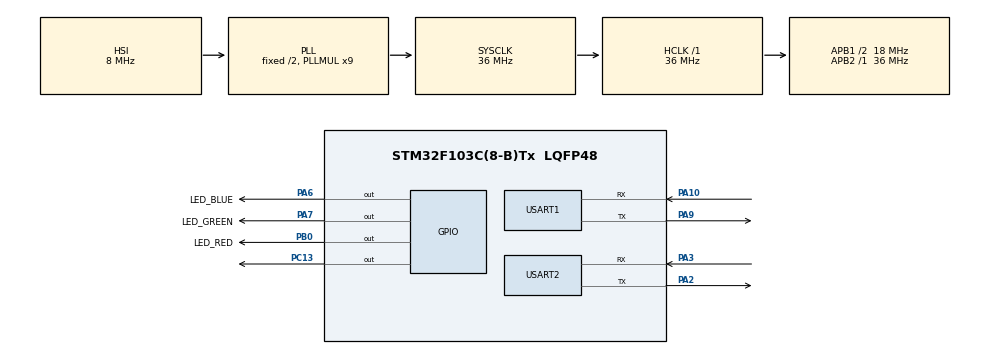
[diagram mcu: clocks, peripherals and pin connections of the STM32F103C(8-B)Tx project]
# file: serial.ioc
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Mcu.Family=STM32F1
Mcu.Name=STM32F103C(8-B)Tx
Mcu.Package=LQFP48
NVIC.PriorityGroup=NVIC_PRIORITYGROUP_4
PA10.GPIO_PuPd=GPIO_PULLUP
PA10.Mode=Asynchronous
PA10.Signal=USART1_RX
PA13.Mode=Serial_Wire
PA13.Signal=SYS_JTMS-SWDIO
PA14.Mode=Serial_Wire
PA14.Signal=SYS_JTCK-SWCLK
PA2.Mode=Asynchronous
PA2.Signal=USART2_TX
PA3.Mode=Asynchronous
PA3.Signal=USART2_RX
PA6.GPIO_Label=LED_BLUE
PA6.Signal=GPIO_Output
PA7.GPIO_Label=LED_GREEN
PA7.Signal=GPIO_Output
PA9.Mode=Asynchronous
PA9.Signal=USART1_TX
PB0.GPIO_Label=LED_RED
PB0.Signal=GPIO_Output
PC13-TAMPER-RTC.Signal=GPIO_Output
PC14-OSC32_IN.Mode=LSE-External-Oscillator
PC14-OSC32_IN.Signal=RCC_OSC32_IN
PC15-OSC32_OUT.Mode=LSE-External-Oscillator
PC15-OSC32_OUT.Signal=RCC_OSC32_OUT
PD0-OSC_IN.Mode=HSE-External-Oscillator
PD0-OSC_IN.Signal=RCC_OSC_IN
PD1-OSC_OUT.Mode=HSE-External-Oscillator
PD1-OSC_OUT.Signal=RCC_OSC_OUT
ProjectManager.HeapSize=0x200
ProjectManager.StackSize=0x400
ProjectManager.TargetToolchain=MDK-ARM V5.32
RCC.AHBFreq_Value=36000000
RCC.APB1CLKDivider=RCC_HCLK_DIV2
RCC.APB1Freq_Value=18000000
RCC.APB1TimFreq_Value=36000000
RCC.APB2Freq_Value=36000000
RCC.APB2TimFreq_Value=36000000
RCC.HCLKFreq_Value=36000000
RCC.PLLMUL=RCC_PLL_MUL9
RCC.SYSCLKFreq_VALUE=36000000
RCC.SYSCLKSource=RCC_SYSCLKSOURCE_PLLCLK
RCC.USBFreq_Value=36000000
USART1.VirtualMode=VM_ASYNC
USART2.VirtualMode=VM_ASYNC
board=custom

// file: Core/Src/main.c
/* USER CODE BEGIN Header */
/**
  ******************************************************************************
  * @file           : main.c
  * @brief          : Main program body
  ******************************************************************************
  * @attention
  *
  * Copyright (c) 2026 STMicroelectronics.
  * All rights reserved.
  *
  * This software is licensed under terms that can be found in the LICENSE file
  * in the root directory of this software component.
  * If no LICENSE file comes with this software, it is provided AS-IS.
  *
  ******************************************************************************
  */
/* USER CODE END Header */
#include "main.h"
#include "usart.h"
#include "gpio.h"

/* USER CODE BEGIN Includes */
#include <string.h>
/* USER CODE END Includes */

void SystemClock_Config(void);

int main(void)
{

  /* MCU Configuration--------------------------------------------------------*/

  /* Reset of all peripherals, Initializes the Flash interface and the Systick. */
  HAL_Init();

  /* Configure the system clock */
  SystemClock_Config();

  /* Initialize all configured peripherals */
  MX_GPIO_Init();
  MX_USART2_UART_Init();
  MX_USART1_UART_Init();
  /* USER CODE BEGIN 2 */
	uint8_t receiveData[2];
  /* USER CODE END 2 */

  /* Infinite loop */
  /* USER CODE BEGIN WHILE */
  while (1)
  {
		//HAL_UART_Transmit (&huart1, (uint8_t *)message, strlen(message), 100);
		//HAL_Delay(1000);
		HAL_GPIO_TogglePin(GPIOC, GPIO_PIN_13);
		HAL_Delay(500);

    if (HAL_UART_Receive(&huart1, receiveData, 2, 100) == HAL_OK)
    {
        HAL_UART_Transmit(&huart1, receiveData, 2, 100);
    }
		GPIO_PinState state=GPIO_PIN_SET;
		if(receiveData[1]=='0')
		{
			state=GPIO_PIN_RESET;
		}
		if(receiveData[0]=='R')
		{
			HAL_GPIO_WritePin(LED_RED_GPIO_Port,LED_RED_Pin,state);
		}
		else if(receiveData[0]=='G')
		{
			HAL_GPIO_WritePin(LED_GREEN_GPIO_Port,LED_GREEN_Pin,state);
		}
		else if(receiveData[0]=='B')
		{
			HAL_GPIO_WritePin(LED_BLUE_GPIO_Port,LED_BLUE_Pin,state);
		}

    /* USER CODE END WHILE */

  }
}

void SystemClock_Config(void)
{
  RCC_OscInitTypeDef RCC_OscInitStruct = {0};
  RCC_ClkInitTypeDef RCC_ClkInitStruct = {0};

  /** Initializes the RCC Oscillators according to the specified parameters
  * in the RCC_OscInitTypeDef structure.
  */
  RCC_OscInitStruct.OscillatorType = RCC_OSCILLATORTYPE_HSI;
  RCC_OscInitStruct.HSIState = RCC_HSI_ON;
  RCC_OscInitStruct.HSICalibrationValue = RCC_HSICALIBRATION_DEFAULT;
  RCC_OscInitStruct.PLL.PLLState = RCC_PLL_ON;
  RCC_OscInitStruct.PLL.PLLSource = RCC_PLLSOURCE_HSI_DIV2;
  RCC_OscInitStruct.PLL.PLLMUL = RCC_PLL_MUL9;
  if (HAL_RCC_OscConfig(&RCC_OscInitStruct) != HAL_OK)
  {
    Error_Handler();
  }

  /** Initializes the CPU, AHB and APB buses clocks
  */
  RCC_ClkInitStruct.ClockType = RCC_CLOCKTYPE_HCLK|RCC_CLOCKTYPE_SYSCLK
                              |RCC_CLOCKTYPE_PCLK1|RCC_CLOCKTYPE_PCLK2;
  RCC_ClkInitStruct.SYSCLKSource = RCC_SYSCLKSOURCE_PLLCLK;
  RCC_ClkInitStruct.AHBCLKDivider = RCC_SYSCLK_DIV1;
  RCC_ClkInitStruct.APB1CLKDivider = RCC_HCLK_DIV2;
  RCC_ClkInitStruct.APB2CLKDivider = RCC_HCLK_DIV1;

  if (HAL_RCC_ClockConfig(&RCC_ClkInitStruct, FLASH_LATENCY_1) != HAL_OK)
  {
    Error_Handler();
  }
}

void Error_Handler(void)
{
  __disable_irq();
  while (1)
  {
  }
}
